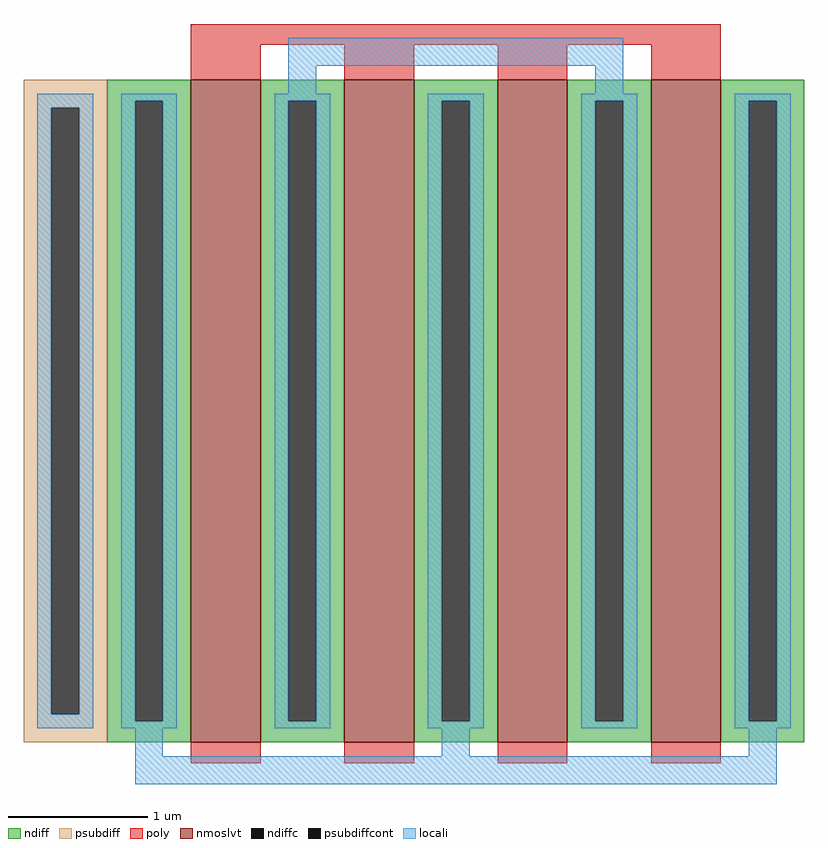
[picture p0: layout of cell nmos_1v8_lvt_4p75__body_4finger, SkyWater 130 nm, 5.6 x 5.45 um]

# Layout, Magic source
magic
tech sky130A
<< nmoslvt >>
rect -935 10 -885 485
rect -825 10 -775 485
rect -715 10 -665 485
rect -605 10 -555 485
<< ndiff >>
rect -995 470 -935 485
rect -995 25 -975 470
rect -955 25 -935 470
rect -995 10 -935 25
rect -885 470 -825 485
rect -885 25 -865 470
rect -845 25 -825 470
rect -885 10 -825 25
rect -775 470 -715 485
rect -775 25 -755 470
rect -735 25 -715 470
rect -775 10 -715 25
rect -665 470 -605 485
rect -665 25 -645 470
rect -625 25 -605 470
rect -665 10 -605 25
rect -555 470 -495 485
rect -555 25 -535 470
rect -515 25 -495 470
rect -555 10 -495 25
<< ndiffc >>
rect -975 25 -955 470
rect -865 25 -845 470
rect -755 25 -735 470
rect -645 25 -625 470
rect -535 25 -515 470
<< psubdiff >>
rect -1055 465 -995 485
rect -1055 30 -1035 465
rect -1015 30 -995 465
rect -1055 10 -995 30
<< psubdiffcont >>
rect -1035 30 -1015 465
<< poly >>
rect -935 510 -555 525
rect -935 485 -885 510
rect -825 485 -775 510
rect -715 485 -665 510
rect -605 485 -555 510
rect -935 -5 -885 10
rect -825 -5 -775 10
rect -715 -5 -665 10
rect -605 -5 -555 10
<< locali >>
rect -865 495 -625 515
rect -865 475 -845 495
rect -645 475 -625 495
rect -1045 465 -1005 475
rect -1045 30 -1035 465
rect -1015 30 -1005 465
rect -1045 20 -1005 30
rect -985 470 -945 475
rect -985 25 -975 470
rect -955 25 -945 470
rect -985 20 -945 25
rect -875 470 -835 475
rect -875 25 -865 470
rect -845 25 -835 470
rect -875 20 -835 25
rect -765 470 -725 475
rect -765 25 -755 470
rect -735 25 -725 470
rect -765 20 -725 25
rect -655 470 -615 475
rect -655 25 -645 470
rect -625 25 -615 470
rect -655 20 -615 25
rect -545 470 -505 475
rect -545 25 -535 470
rect -515 25 -505 470
rect -545 20 -505 25
rect -975 0 -955 20
rect -755 0 -735 20
rect -535 0 -515 20
rect -975 -20 -515 0
<< end >>
